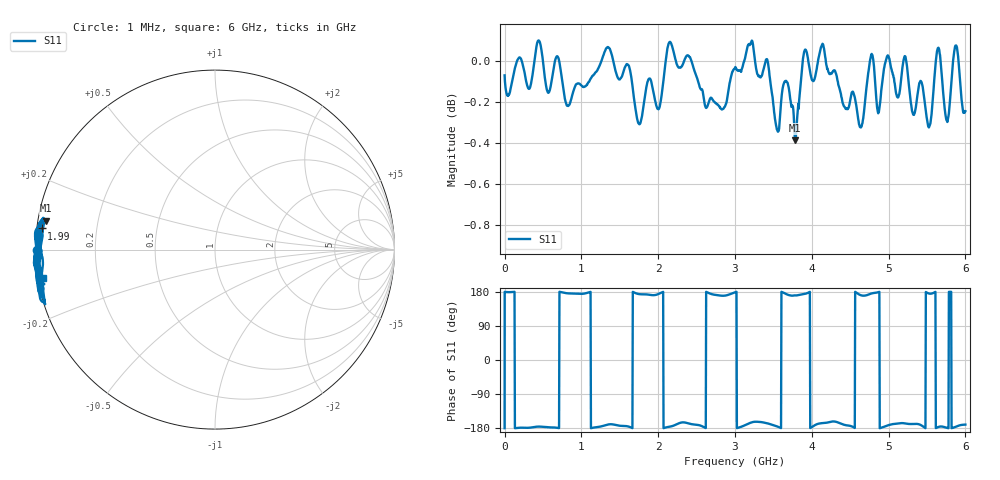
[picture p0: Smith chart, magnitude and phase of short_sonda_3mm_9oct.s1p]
! COPPER MOUNTAIN TECHNOLOGIES, R60, 23103002, 24.3.3/3.0
! Date: 9/10/2026 11:33:54
! Data: Format [Calibration Info]
! Frequency		S11: Mag/Ang RO
# HZ S MA R 50
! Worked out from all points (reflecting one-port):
!   1280 points, 1 MHz to 6 GHz, reference 50 ohm
!   lowest |S11| = -0.4 dB at 3.785 GHz (marker M1), VSWR 44.94, Z = 1.12 + j4.23 ohm
!   phase of S11 starts at -180 deg and turns +9 deg over the sweep
!   S11 on the Smith chart (normalised r, x): 1 MHz: 0.00, -0.00; 1.99 GHz: 0.01, +0.06; 6 GHz: 0.01, -0.08
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1000000  0.9919 -180.0
4.5e8  1.011 -175.7
7.55e8  0.9875 178.2
1.005e9  0.9861 174.5
1.36e9  1.007 -169.8
1.505e9  0.99 -173.6
1.755e9  0.9651 173.7
1.99e9  0.9736 173.0
2.255e9  0.9969 -168.3
2.335e9  0.9994 -164.6
2.52e9  0.9884 -171.5
2.815e9  0.9737 169.8
3.005e9  0.9965 179.0
3.3e9  0.992 -163.1
3.755e9  0.9746 169.9
3.785e9  0.9565 170.3
3.93e9  1.005 175.6
4.09e9  1.002 -167.9
4.26e9  0.9929 -162.4
4.505e9  0.9791 -174.1
4.685e9  0.974 169.8
5.045e9  0.9939 -169.5
5.255e9  0.9906 -168.6
5.395e9  0.9864 -169.6
5.545e9  0.9657 175.0
5.67e9  1.003 -175.6
5.81e9  0.9839 179.9
6e9  0.9722 -170.5
